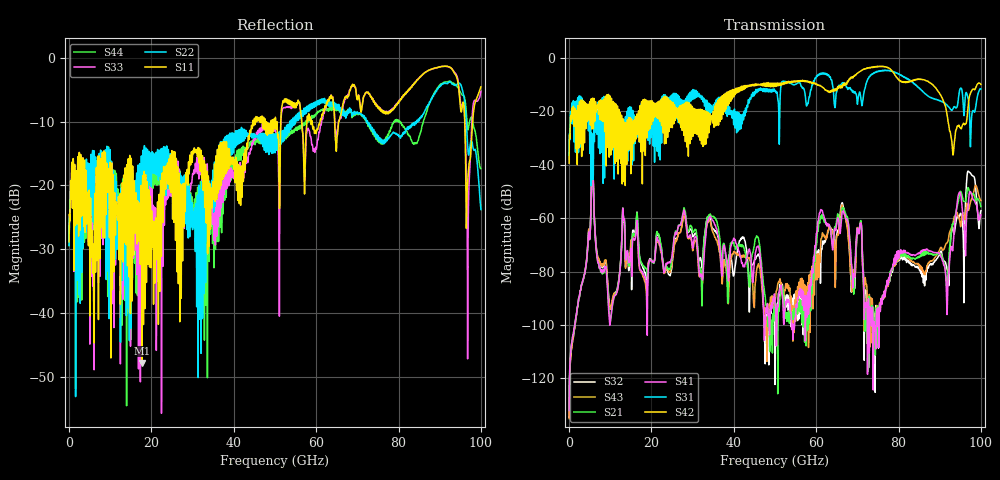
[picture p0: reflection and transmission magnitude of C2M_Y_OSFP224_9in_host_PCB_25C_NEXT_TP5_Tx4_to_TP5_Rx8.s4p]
# GHz S RI R 45
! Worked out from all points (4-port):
!   4000 points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, 25 MHz to 100 GHz, reference 45 ohm
!   strongest paths, dB at 25 MHz, 25.02 GHz, 50.02 GHz, 75.03 GHz, 100 GHz:
!     S42: -39.4, -23.2, -10.7, -3.3, -9.9
!     S31: -38.0, -14.1, -12.4, -5.0, -11.6
!     S41: -132.0, -73.8, -91.9, -93.9, -58.8
!     S21: -131.9, -74.6, -92.7, -94.5, -55.7
!     S43: -135.1, -77.1, -90.9, -93.3, -53.4
!     S32: -134.6, -77.4, -122.3, -95.9, -57.2
!   lowest |S11| = -47.8 dB at 17.7 GHz (marker M1), VSWR 1.01, Z = 45.1 + j0.352 ohm
!   |S11| at or under -10 dB: start of sweep to 44.62 GHz; 59.03 GHz to 60.93 GHz (1.901 GHz wide, 3.17 % of centre); 96.08 GHz to 98 GHz (1.927 GHz wide, 1.99 % of centre)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
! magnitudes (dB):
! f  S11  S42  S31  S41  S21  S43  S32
! 25 MHz  -28.8  -39.4  -38.0  -132.0  -131.9  -135.1  -134.6
! 5.725 GHz  -33.7  -15.1  -32.5  -41.7  -41.7  -41.6  -41.7
! 7.75 GHz  -16.4  -16.3  -15.9  -80.0  -80.3  -77.6  -77.9
! 17.7 GHz  -47.8  -18.2  -21.7  -79.9  -76.9  -80.7  -77.6
! 66.4 GHz  -7.6  -10.3  -9.3  -57.6  -56.0  -55.6  -54.4
! 86.3 GHz  -2.4  -8.3  -13.3  -71.8  -73.8  -80.5  -84.4
! 100 GHz  -4.6  -9.9  -11.6  -58.8  -55.7  -53.4  -57.2
